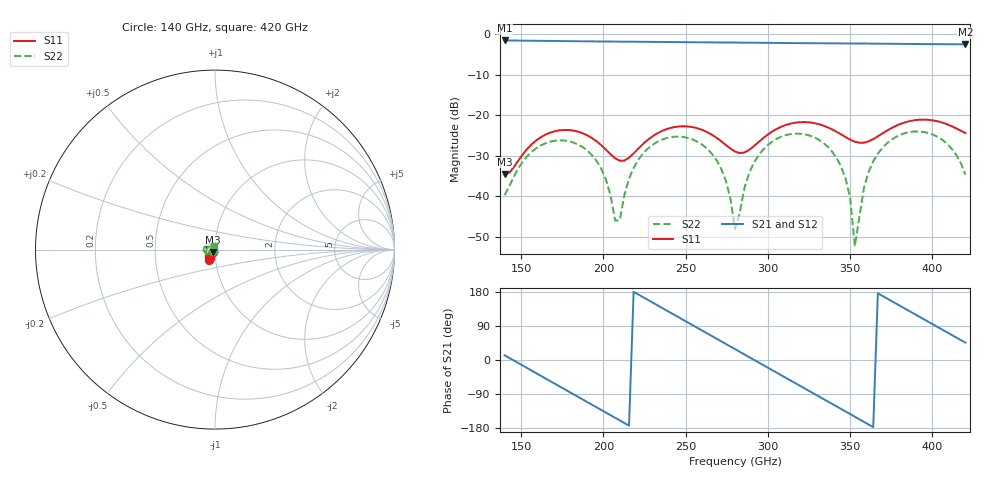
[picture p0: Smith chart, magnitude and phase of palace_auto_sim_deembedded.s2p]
! Created with skrf 1.11.0 (http://scikit-rf.org).
# GHz S DB R 50.0
!freq dBS11 angS11 dBS21 angS21 dBS12 angS12 dBS22 angS22
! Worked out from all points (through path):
!   101 points, 140 GHz to 420 GHz, reference 50 ohm
!   highest |S21| = -1.55 dB at 140 GHz (marker M1); lowest = -2.5 dB at 420 GHz (marker M2)
!   group delay of S21, straight-line fit = 6.81 ps
!   lowest |S11| = -34.5 dB at 140 GHz (marker M3), VSWR 1.04, Z = 48.7 - j1.33 ohm
!   |S11| at or under -10 dB: start of sweep to end of sweep
!   |S22| runs from -52.3 to -24.0 dB; largest |S21 - S12| = 1.4e-13
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140  -34.49 -133.6  -1.55 12.5  -1.55 12.5  -39.69 -145.2
159.6  -26.10 -100.4  -1.63 -35.8  -1.63 -35.8  -28.04 -133.5
187.6  -24.47 -142.2  -1.76 -104.5  -1.76 -104.5  -27.90 163.9
198.8  -27.42 -150.9  -1.80 -132.0  -1.80 -132.0  -33.26 141.2
207.2  -30.62 -139.5  -1.83 -152.6  -1.83 -152.6  -46.02 161.1
210  -31.22 -129.8  -1.84 -159.5  -1.84 -159.5  -45.86 -127.0
218.4  -29.41 -102.8  -1.87 179.9  -1.87 179.9  -32.98 -108.1
235.2  -23.95 -105.5  -1.92 138.6  -1.92 138.6  -26.09 -144.1
252  -22.80 -127.7  -1.99 97.4  -1.99 97.4  -25.67 175.8
266  -24.81 -142.4  -2.03 63.1  -2.03 63.1  -29.52 143.7
274.4  -27.32 -141.5  -2.06 42.5  -2.06 42.5  -36.09 129.8
280  -28.95 -131.2  -2.07 28.7  -2.07 28.7  -48.05 165.2
288.4  -28.61 -106.3  -2.10 8.1  -2.10 8.1  -34.46 -108.6
296.8  -25.76 -96.2  -2.13 -12.5  -2.13 -12.5  -28.59 -124.3
327.6  -21.90 -125.6  -2.24 -87.9  -2.24 -87.9  -25.35 160.5
344.4  -24.71 -135.4  -2.28 -129.1  -2.28 -129.1  -32.59 116.2
350  -26.02 -130.8  -2.29 -142.8  -2.29 -142.8  -40.50 96.9
352.8  -26.52 -126.3  -2.30 -149.7  -2.30 -149.7  -52.30 63.2
361.2  -26.43 -109.0  -2.32 -170.3  -2.32 -170.3  -33.96 -99.0
375.2  -23.14 -100.3  -2.38 155.4  -2.38 155.4  -26.00 -137.0
397.6  -21.13 -120.3  -2.45 100.6  -2.45 100.6  -24.40 165.2
420  -24.40 -129.5  -2.51 45.8  -2.51 45.8  -34.64 102.6
